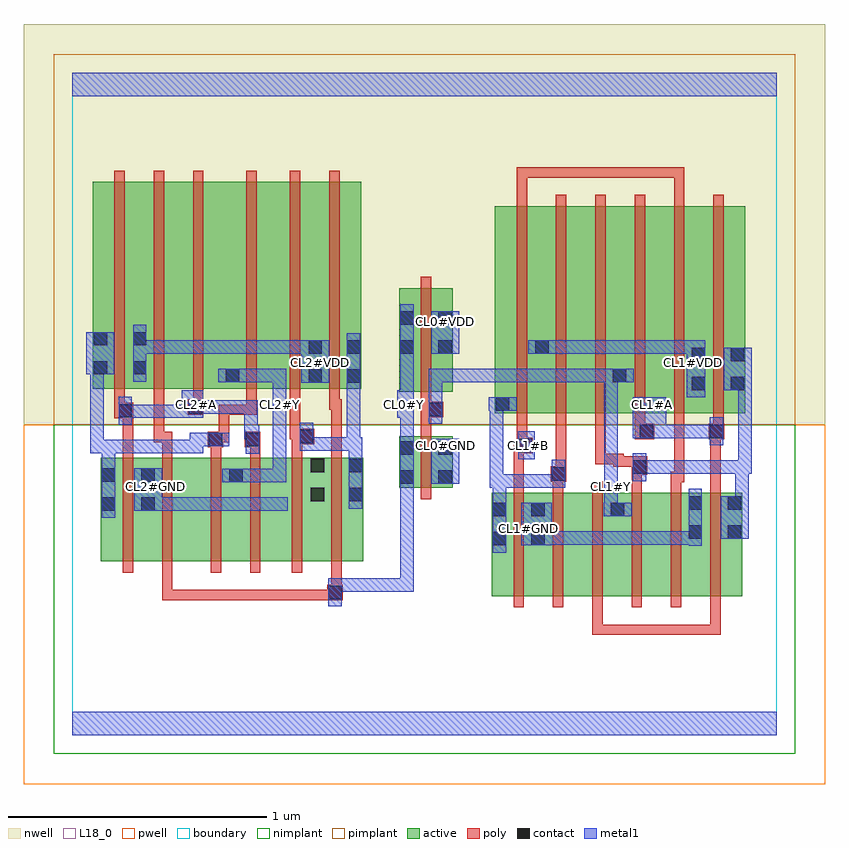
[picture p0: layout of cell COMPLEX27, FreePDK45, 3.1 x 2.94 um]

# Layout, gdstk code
import gdstk
lib = gdstk.Library(unit=1e-6, precision=1e-09)
def R(c, l, rs):  # rectangles x0, y0, x1, y1
    for r in rs: c.add(gdstk.rectangle(r[:2], r[2:], *l))
def A(c, l, x, y, w, h, nx, ny, dx, dy):  # array of equal rectangles
    R(c, l, [(x+i*dx, y+j*dy, x+i*dx+w, y+j*dy+h) for i in range(nx) for j in range(ny)])
active = (1, 0)
pwell = (2, 0)
nwell = (3, 0)
nimplant = (4, 0)
pimplant = (5, 0)
poly = (9, 0)
contact = (10, 0)
metal1 = (11, 0)
L18_0 = (18, 0)
boundary = (235, 0)

complex27 = lib.new_cell('COMPLEX27')
R(complex27, active, [(1.62,0.538,1.828,0.938), (1.768,0.538,1.952,0.938), (1.952,0.538,2.136,0.938), (2.076,0.538,2.256,0.938), (2.256,0.538,2.436,0.938), (2.376,0.538,2.588,0.938), (0.11,0.672,0.322,1.072), (0.262,0.672,0.442,1.072), (0.442,0.672,0.662,1.072), (0.602,0.672,0.782,1.072), (0.782,0.672,0.976,1.072), (0.916,0.672,1.124,1.072), (1.62,0.73,1.68,0.938), (1.768,0.73,1.828,0.938), (0.11,0.756,0.17,1.072), (0.262,0.756,0.322,1.072), (0.602,0.756,0.662,1.072), (0.916,0.756,0.976,1.072), (1.064,0.756,1.124,1.072), (2.076,0.756,2.136,0.938), (2.376,0.756,2.436,0.938), (2.528,0.756,2.588,0.938), (1.262,0.956,1.322,1.156), (1.262,0.956,1.47,1.156), (1.41,0.956,1.47,1.156), (1.632,1.244,1.692,2.044), (1.632,1.244,1.844,2.044), (1.784,1.244,1.844,2.044), (1.784,1.244,1.964,2.044), (1.964,1.244,2.144,2.044), (2.084,1.244,2.144,2.044), (2.084,1.244,2.268,2.044), (2.268,1.244,2.448,2.044), (2.388,1.244,2.448,2.044), (2.388,1.244,2.6,2.044), (2.54,1.244,2.6,2.044), (1.262,1.328,1.47,1.728), (1.262,1.328,1.322,1.728), (0.078,1.338,0.29,2.138), (0.078,1.338,0.138,2.044), (0.23,1.338,0.41,2.138), (0.23,1.338,0.29,2.044), (0.41,1.338,0.648,2.138), (0.588,1.338,0.648,2.044), (0.588,1.338,0.784,2.138), (0.784,1.338,0.968,2.138), (0.908,1.338,0.968,2.044), (0.908,1.338,1.116,2.138), (1.056,1.338,1.116,2.044), (1.41,1.452,1.47,1.644)])
R(complex27, pwell, [(-0.188,-0.188,2.908,1.2)])
R(complex27, nwell, [(-0.188,1.2,2.908,2.748)])
R(complex27, nimplant, [(-0.072,-0.072,2.792,1.2)])
R(complex27, pimplant, [(-0.072,1.2,2.792,2.632)])
A(complex27, poly, 1.704, 0.494, 0.04, 0.488, 6, 1, 0.152, 0)
A(complex27, poly, 1.716, 1.2, 0.04, 0.888, 6, 1, 0.152, 0)
A(complex27, poly, 0.162, 1.294, 0.04, 0.888, 3, 1, 0.152, 0)
R(complex27, poly, [(2.008,0.388,2.048,0.428), (2.008,0.388,2.048,0.428), (2.008,0.388,2.048,0.428), (2.008,0.388,2.048,0.534), (2.008,0.388,2.246,0.428), (2.206,0.388,2.246,0.428), (2.206,0.388,2.246,0.428), (2.206,0.388,2.246,0.428), (2.206,0.388,2.352,0.428), (2.312,0.388,2.352,0.428), (2.312,0.388,2.504,0.428), (2.464,0.388,2.504,0.428), (2.464,0.388,2.504,0.428), (2.464,0.388,2.504,0.428), (2.464,0.388,2.504,0.534), (0.346,0.522,0.386,0.562), (0.346,0.522,0.386,0.562), (0.346,0.522,0.386,0.562), (0.346,0.522,0.386,0.668), (0.346,0.522,0.6,0.562), (0.56,0.522,0.6,0.562), (0.56,0.522,0.6,0.562), (0.56,0.522,0.6,0.562), (0.56,0.522,0.742,0.562), (0.702,0.522,0.742,0.562), (0.702,0.522,0.742,0.562), (0.702,0.522,0.742,0.562), (0.702,0.522,0.918,0.562), (0.878,0.522,0.918,0.562), (0.878,0.522,1.024,0.562), (0.984,0.522,1.024,0.562), (0.984,0.522,1.024,0.562), (0.984,0.522,1.044,0.582), (1,0.542,1.04,0.668), (0.194,0.628,0.234,1.116), (0.346,0.628,0.386,1.116), (0.534,0.628,0.574,1.116), (0.686,0.628,0.726,1.116), (0.848,0.628,0.888,1.116), (1,0.628,1.04,1.116), (1.346,0.912,1.386,1.2), (1.704,0.942,1.744,1.13), (1.856,0.942,1.896,1.02), (2.16,0.942,2.2,1.046), (2.312,0.942,2.352,1.018), (2.464,0.942,2.504,1.184), (2.312,0.978,2.354,1.018), (2.314,0.978,2.354,1.018), (2.314,0.978,2.364,1.018), (2.324,0.978,2.364,1.24), (1.848,0.98,1.908,1.04), (1.868,1,1.908,1.04), (1.868,1,1.908,1.04), (1.868,1,1.908,1.24), (2.16,1.006,2.22,1.078), (2.09,1.038,2.2,1.078), (2.09,1.038,2.13,1.088), (2.02,1.048,2.06,1.088), (2.02,1.048,2.06,1.088), (2.02,1.048,2.06,1.088), (2.02,1.048,2.13,1.088), (2.02,1.048,2.06,1.24), (0.194,1.076,0.234,1.264), (0.346,1.076,0.386,1.172), (0.534,1.076,0.574,1.152), (0.686,1.076,0.726,1.152), (0.848,1.076,0.888,1.164), (1,1.076,1.04,1.298), (1.704,1.09,1.756,1.13), (1.716,1.09,1.756,1.13), (1.716,1.09,1.778,1.15), (1.716,1.11,1.756,1.24), (0.522,1.112,0.582,1.172), (0.666,1.112,0.726,1.172), (0.848,1.124,0.934,1.184), (0.314,1.132,0.354,1.172), (0.314,1.132,0.354,1.172), (0.314,1.132,0.354,1.334), (0.314,1.132,0.386,1.172), (0.542,1.132,0.606,1.172), (0.566,1.132,0.606,1.172), (0.566,1.132,0.606,1.278), (0.84,1.144,0.888,1.184), (0.84,1.144,0.88,1.334), (0.848,1.144,0.888,1.184), (2.172,1.144,2.248,1.204), (2.458,1.144,2.518,1.204), (2.464,1.144,2.504,1.184), (2.464,1.144,2.504,1.184), (1.346,1.16,1.386,1.268), (2.172,1.164,2.212,1.24), (2.476,1.164,2.516,1.24), (0.162,1.224,0.234,1.284), (0.194,1.224,0.234,1.264), (0.194,1.224,0.234,1.264), (1.346,1.228,1.386,1.268), (1.346,1.228,1.386,1.268), (1.346,1.228,1.432,1.288), (0.446,1.238,0.506,1.298), (0.566,1.238,0.606,1.278), (0.566,1.238,0.712,1.278), (0.672,1.238,0.712,1.278), (0.672,1.238,0.712,1.334), (0.162,1.244,0.202,1.334), (1.346,1.248,1.386,1.324), (0.466,1.258,0.506,1.334), (0.992,1.258,1.032,1.334), (0.992,1.258,1.04,1.298), (1,1.258,1.04,1.298), (1,1.258,1.04,1.298), (1.346,1.284,1.386,1.772), (0.672,1.294,0.712,2.182), (0.84,1.294,0.88,2.182), (0.992,1.294,1.032,2.182), (1.716,2.048,1.756,2.194), (2.324,2.048,2.364,2.194), (1.716,2.154,1.756,2.194), (1.716,2.154,1.756,2.194), (1.716,2.154,1.756,2.194), (1.716,2.154,1.924,2.194), (1.884,2.154,1.924,2.194), (1.884,2.154,1.924,2.194), (1.884,2.154,1.924,2.194), (1.884,2.154,2.094,2.194), (2.054,2.154,2.094,2.194), (2.054,2.154,2.094,2.194), (2.054,2.154,2.094,2.194), (2.054,2.154,2.246,2.194), (2.206,2.154,2.246,2.194), (2.206,2.154,2.364,2.194), (2.324,2.154,2.364,2.194), (2.324,2.154,2.364,2.194), (2.324,2.154,2.364,2.194)])
R(complex27, contact, [(0.988,0.526,1.04,0.578), (1.624,0.734,1.676,0.786), (1.772,0.734,1.824,0.786), (2.38,0.76,2.432,0.812), (2.532,0.76,2.584,0.812), (1.624,0.846,1.676,0.898), (1.772,0.846,1.824,0.898), (2.08,0.846,2.132,0.898), (0.114,0.868,0.166,0.92), (0.266,0.868,0.318,0.92), (2.38,0.872,2.432,0.924), (2.532,0.872,2.584,0.924), (0.92,0.904,0.972,0.956), (1.068,0.904,1.12,0.956), (1.266,0.972,1.318,1.024), (1.414,0.972,1.466,1.024), (0.606,0.978,0.658,1.03), (0.114,0.98,0.166,1.032), (0.266,0.98,0.318,1.032), (1.852,0.984,1.904,1.036), (2.164,1.01,2.216,1.062), (0.92,1.016,0.972,1.068), (1.068,1.016,1.12,1.068), (1.266,1.084,1.318,1.136), (1.414,1.084,1.466,1.136), (1.722,1.094,1.774,1.146), (0.526,1.116,0.578,1.168), (0.67,1.116,0.722,1.168), (0.878,1.128,0.93,1.18), (2.192,1.148,2.244,1.2), (2.462,1.148,2.514,1.2), (0.178,1.228,0.23,1.28), (1.376,1.232,1.428,1.284), (0.45,1.242,0.502,1.294), (1.636,1.254,1.688,1.306), (2.392,1.334,2.444,1.386), (2.544,1.334,2.596,1.386), (0.912,1.362,0.964,1.414), (1.06,1.362,1.112,1.414), (0.592,1.364,0.644,1.416), (2.088,1.364,2.14,1.416), (0.082,1.394,0.134,1.446), (0.234,1.394,0.286,1.446), (2.392,1.446,2.444,1.498), (2.544,1.446,2.596,1.498), (0.912,1.474,0.964,1.526), (1.06,1.474,1.112,1.526), (1.266,1.474,1.318,1.526), (1.414,1.474,1.466,1.526), (1.788,1.474,1.84,1.526), (0.082,1.506,0.134,1.558), (0.234,1.506,0.286,1.558), (1.266,1.586,1.318,1.638), (1.414,1.586,1.466,1.638)])
R(complex27, metal1, [(0,0,2.72,0.092), (0.988,0.498,1.04,0.606), (0.988,0.554,1.318,0.606), (1.266,0.554,1.318,0.606), (1.266,0.554,1.318,0.606), (1.266,0.554,1.318,0.606), (1.266,0.554,1.318,0.606), (1.266,0.554,1.318,0.606), (1.266,0.554,1.318,0.606), (1.266,0.554,1.318,0.606), (1.266,0.554,1.318,0.606), (1.266,0.554,1.318,0.606), (1.266,0.554,1.318,0.996), (1.624,0.706,1.676,0.926), (2.38,0.732,2.432,0.952), (1.734,0.734,1.852,0.898), (1.8,0.736,1.852,0.788), (1.8,0.736,1.852,0.788), (1.8,0.736,1.994,0.788), (1.942,0.736,1.994,0.788), (1.942,0.736,1.994,0.788), (1.942,0.736,1.994,0.788), (1.942,0.736,2.104,0.788), (2.052,0.736,2.104,0.788), (2.052,0.736,2.294,0.788), (2.242,0.736,2.294,0.788), (2.242,0.736,2.294,0.788), (2.242,0.736,2.294,0.788), (2.242,0.736,2.404,0.788), (2.352,0.736,2.404,0.788), (2.352,0.736,2.432,0.788), (2.504,0.76,2.612,0.924), (0.114,0.84,0.166,1.06), (2.052,0.846,2.16,0.898), (2.054,0.846,2.106,0.958), (0.238,0.868,0.346,1.032), (0.294,0.868,0.346,0.92), (0.294,0.868,0.346,0.92), (0.294,0.868,0.506,0.92), (0.454,0.868,0.506,0.92), (0.454,0.868,0.506,0.92), (0.454,0.868,0.506,0.92), (0.454,0.868,0.716,0.92), (0.664,0.868,0.716,0.92), (0.664,0.868,0.716,0.92), (0.664,0.868,0.716,0.92), (0.664,0.868,0.826,0.92), (0.774,0.868,0.826,0.92), (0.774,0.868,0.832,0.92), (0.78,0.868,0.832,0.92), (2.56,0.872,2.612,1.062), (1.624,0.874,1.676,1.008), (1.068,0.876,1.12,1.096), (2.054,0.906,2.106,1.014), (1.266,0.944,1.318,1.164), (1.612,0.956,1.676,1.008), (1.612,0.956,1.664,1.306), (1.624,0.956,1.676,1.008), (1.624,0.956,1.676,1.008), (1.624,0.956,1.868,1.008), (1.816,0.956,1.868,1.008), (1.816,0.956,1.904,1.008), (1.852,0.956,1.904,1.064), (2.054,0.962,2.106,1.416), (1.386,0.972,1.494,1.136), (0.578,0.978,0.686,1.03), (0.634,0.978,0.722,1.03), (0.67,0.978,0.722,1.03), (0.67,0.978,0.826,1.03), (0.774,0.978,0.826,1.03), (0.774,0.978,0.826,1.278), (2.164,0.982,2.216,1.09), (0.114,1.008,0.166,1.142), (2.164,1.01,2.216,1.062), (2.164,1.01,2.216,1.062), (2.164,1.01,2.404,1.062), (2.352,1.01,2.404,1.062), (2.352,1.01,2.404,1.062), (2.352,1.01,2.404,1.062), (2.352,1.01,2.612,1.062), (2.56,1.01,2.612,1.062), (2.56,1.01,2.612,1.062), (2.56,1.01,2.624,1.062), (2.572,1.01,2.624,1.386), (1.068,1.044,1.12,1.152), (1.722,1.066,1.786,1.174), (1.386,1.084,1.494,1.146), (1.442,1.084,1.494,1.136), (1.442,1.084,1.494,1.136), (1.442,1.084,1.494,1.136), (0.67,1.088,0.722,1.196), (0.068,1.09,0.12,1.142), (0.068,1.09,0.12,1.142), (0.068,1.09,0.12,1.446), (0.068,1.09,0.166,1.142), (0.114,1.09,0.166,1.142), (0.114,1.09,0.166,1.142), (0.114,1.09,0.364,1.142), (0.312,1.09,0.364,1.142), (0.312,1.09,0.364,1.142), (0.312,1.09,0.364,1.142), (0.312,1.09,0.506,1.142), (0.454,1.09,0.506,1.168), (0.878,1.1,0.93,1.208), (0.878,1.1,1.002,1.152), (0.95,1.1,1.002,1.152), (0.95,1.1,1.112,1.152), (1.06,1.1,1.112,1.152), (1.06,1.1,1.112,1.152), (1.06,1.1,1.112,1.152), (1.06,1.1,1.112,1.152), (1.06,1.1,1.112,1.386), (1.06,1.1,1.12,1.152), (1.266,1.112,1.318,1.278), (0.454,1.116,0.55,1.168), (0.498,1.116,0.606,1.168), (2.462,1.12,2.514,1.228), (0.664,1.144,0.716,1.196), (0.664,1.144,0.722,1.196), (0.664,1.144,0.716,1.294), (2.164,1.148,2.294,1.306), (2.242,1.148,2.294,1.2), (2.242,1.148,2.294,1.2), (2.242,1.148,2.404,1.2), (2.352,1.148,2.404,1.2), (2.352,1.148,2.404,1.2), (2.352,1.148,2.404,1.2), (2.352,1.148,2.514,1.2), (0.178,1.2,0.23,1.308), (1.376,1.204,1.428,1.312), (0.178,1.226,0.34,1.278), (0.288,1.226,0.34,1.278), (0.288,1.226,0.34,1.278), (0.288,1.226,0.34,1.278), (0.288,1.226,0.474,1.278), (0.422,1.226,0.506,1.334), (0.774,1.226,0.826,1.334), (1.254,1.226,1.318,1.334), (0.422,1.242,0.474,1.294), (0.422,1.242,0.53,1.294), (0.478,1.242,0.716,1.294), (0.664,1.242,0.716,1.294), (1.608,1.254,1.716,1.306), (1.612,1.254,1.664,1.306), (1.612,1.254,1.664,1.306), (1.376,1.26,1.428,1.312), (1.376,1.26,1.428,1.312), (1.376,1.26,1.428,1.312), (1.376,1.26,1.428,1.312), (1.376,1.26,1.428,1.416), (0.774,1.282,0.826,1.334), (0.774,1.282,0.826,1.334), (0.774,1.282,0.826,1.416), (1.266,1.282,1.318,1.498), (2.374,1.306,2.444,1.526), (1.06,1.334,1.112,1.554), (2.516,1.334,2.624,1.498), (2.572,1.334,2.624,1.386), (2.572,1.334,2.624,1.386), (0.884,1.362,0.992,1.526), (0.564,1.364,0.672,1.416), (0.62,1.364,0.722,1.416), (0.67,1.364,0.722,1.416), (0.67,1.364,0.826,1.416), (0.774,1.364,0.826,1.416), (1.376,1.364,1.428,1.416), (1.376,1.364,1.676,1.416), (1.624,1.364,1.676,1.416), (1.624,1.364,1.676,1.416), (1.624,1.364,1.676,1.416), (1.624,1.364,1.826,1.416), (1.774,1.364,1.826,1.416), (1.774,1.364,1.826,1.416), (1.774,1.364,1.826,1.416), (1.774,1.364,1.826,1.416), (1.774,1.364,1.826,1.416), (1.774,1.364,1.978,1.416), (1.926,1.364,1.978,1.416), (1.926,1.364,1.978,1.416), (1.926,1.364,1.978,1.416), (1.926,1.364,2.106,1.416), (2.054,1.364,2.106,1.416), (2.054,1.364,2.106,1.416), (2.054,1.364,2.168,1.416), (0.234,1.366,0.286,1.586), (0.054,1.394,0.162,1.558), (1.266,1.446,1.318,1.498), (1.266,1.446,1.318,1.498), (1.266,1.446,1.318,1.666), (0.234,1.474,0.364,1.526), (0.312,1.474,0.364,1.526), (0.312,1.474,0.474,1.526), (0.422,1.474,0.474,1.526), (0.422,1.474,0.474,1.526), (0.422,1.474,0.474,1.526), (0.422,1.474,0.716,1.526), (0.664,1.474,0.716,1.526), (0.664,1.474,0.716,1.526), (0.664,1.474,0.716,1.526), (0.664,1.474,0.826,1.526), (0.774,1.474,0.826,1.526), (0.774,1.474,0.93,1.526), (0.878,1.474,0.93,1.526), (0.878,1.474,0.936,1.526), (1.386,1.474,1.494,1.638), (1.76,1.474,1.868,1.526), (1.816,1.474,1.868,1.526), (1.816,1.474,1.868,1.526), (1.816,1.474,1.994,1.526), (1.942,1.474,1.994,1.526), (1.942,1.474,2.104,1.526), (2.052,1.474,2.104,1.526), (2.052,1.474,2.104,1.526), (2.052,1.474,2.104,1.526), (2.052,1.474,2.294,1.526), (2.242,1.474,2.294,1.526), (2.242,1.474,2.294,1.526), (2.242,1.474,2.294,1.526), (2.242,1.474,2.404,1.526), (2.352,1.474,2.404,1.526), (2.352,1.474,2.426,1.526), (0,2.468,2.72,2.56)])
R(complex27, L18_0, [(0,0,2.72,0.092), (0.988,0.498,1.04,0.606), (0.988,0.554,1.318,0.606), (1.266,0.554,1.318,0.606), (1.266,0.554,1.318,0.606), (1.266,0.554,1.318,0.606), (1.266,0.554,1.318,0.606), (1.266,0.554,1.318,0.606), (1.266,0.554,1.318,0.606), (1.266,0.554,1.318,0.606), (1.266,0.554,1.318,0.606), (1.266,0.554,1.318,0.606), (1.266,0.554,1.318,0.996), (2.38,0.732,2.432,0.952), (1.734,0.734,1.852,0.898), (1.8,0.736,1.852,0.788), (1.8,0.736,1.852,0.788), (1.8,0.736,1.994,0.788), (1.942,0.736,1.994,0.788), (1.942,0.736,1.994,0.788), (1.942,0.736,1.994,0.788), (1.942,0.736,2.104,0.788), (2.052,0.736,2.104,0.788), (2.052,0.736,2.294,0.788), (2.242,0.736,2.294,0.788), (2.242,0.736,2.294,0.788), (2.242,0.736,2.294,0.788), (2.242,0.736,2.404,0.788), (2.352,0.736,2.404,0.788), (2.352,0.736,2.432,0.788), (1.734,0.774,1.786,0.826), (2.052,0.846,2.16,0.898), (2.054,0.846,2.106,0.958), (0.238,0.868,0.346,1.032), (0.294,0.868,0.346,0.92), (0.294,0.868,0.346,0.92), (0.294,0.868,0.506,0.92), (0.454,0.868,0.506,0.92), (0.454,0.868,0.506,0.92), (0.454,0.868,0.506,0.92), (0.454,0.868,0.716,0.92), (0.664,0.868,0.716,0.92), (0.664,0.868,0.716,0.92), (0.664,0.868,0.716,0.92), (0.664,0.868,0.826,0.92), (0.774,0.868,0.826,0.92), (0.774,0.868,0.832,0.92), (0.78,0.868,0.832,0.92), (2.054,0.906,2.106,1.014), (0.294,0.934,0.346,0.986), (2.054,0.934,2.106,0.986), (1.266,0.944,1.318,1.164), (2.054,0.962,2.106,1.416), (1.386,0.972,1.494,1.136), (0.578,0.978,0.686,1.03), (0.634,0.978,0.722,1.03), (0.67,0.978,0.722,1.03), (0.67,0.978,0.826,1.03), (0.774,0.978,0.826,1.03), (0.774,0.978,0.826,1.278), (1.722,1.066,1.786,1.174), (1.386,1.084,1.494,1.146), (1.442,1.084,1.494,1.136), (1.442,1.084,1.494,1.136), (1.442,1.084,1.494,1.136), (0.67,1.088,0.722,1.196), (1.414,1.094,1.466,1.146), (1.734,1.094,1.786,1.146), (1.266,1.112,1.318,1.278), (2.462,1.12,2.514,1.228), (0.664,1.144,0.716,1.196), (0.664,1.144,0.716,1.294), (0.664,1.144,0.722,1.196), (2.164,1.148,2.294,1.306), (2.242,1.148,2.294,1.2), (2.242,1.148,2.294,1.2), (2.242,1.148,2.404,1.2), (2.352,1.148,2.404,1.2), (2.352,1.148,2.404,1.2), (2.352,1.148,2.404,1.2), (2.352,1.148,2.514,1.2), (0.178,1.2,0.23,1.308), (1.376,1.204,1.428,1.312), (0.178,1.226,0.34,1.278), (0.288,1.226,0.34,1.278), (0.288,1.226,0.34,1.278), (0.288,1.226,0.34,1.278), (0.288,1.226,0.474,1.278), (0.422,1.226,0.506,1.334), (0.774,1.226,0.826,1.334), (1.254,1.226,1.318,1.334), (0.422,1.242,0.474,1.294), (0.422,1.242,0.53,1.294), (0.478,1.242,0.716,1.294), (0.664,1.242,0.716,1.294), (0.454,1.254,0.506,1.306), (0.774,1.254,0.826,1.306), (1.254,1.254,1.306,1.306), (2.214,1.254,2.266,1.306), (1.376,1.26,1.428,1.312), (1.376,1.26,1.428,1.312), (1.376,1.26,1.428,1.312), (1.376,1.26,1.428,1.312), (1.376,1.26,1.428,1.416), (0.774,1.282,0.826,1.334), (0.774,1.282,0.826,1.334), (0.774,1.282,0.826,1.416), (1.266,1.282,1.318,1.498), (2.374,1.306,2.444,1.526), (0.884,1.362,0.992,1.526), (0.564,1.364,0.672,1.416), (0.62,1.364,0.722,1.416), (0.67,1.364,0.722,1.416), (0.67,1.364,0.826,1.416), (0.774,1.364,0.826,1.416), (1.376,1.364,1.428,1.416), (1.376,1.364,1.676,1.416), (1.624,1.364,1.676,1.416), (1.624,1.364,1.676,1.416), (1.624,1.364,1.676,1.416), (1.624,1.364,1.826,1.416), (1.774,1.364,1.826,1.416), (1.774,1.364,1.826,1.416), (1.774,1.364,1.826,1.416), (1.774,1.364,1.826,1.416), (1.774,1.364,1.826,1.416), (1.774,1.364,1.978,1.416), (1.926,1.364,1.978,1.416), (1.926,1.364,1.978,1.416), (1.926,1.364,1.978,1.416), (1.926,1.364,2.106,1.416), (2.054,1.364,2.106,1.416), (2.054,1.364,2.106,1.416), (2.054,1.364,2.168,1.416), (0.234,1.366,0.286,1.586), (0.934,1.414,0.986,1.466), (2.374,1.414,2.426,1.466), (1.266,1.446,1.318,1.498), (1.266,1.446,1.318,1.498), (1.266,1.446,1.318,1.666), (0.234,1.474,0.364,1.526), (0.312,1.474,0.364,1.526), (0.312,1.474,0.474,1.526), (0.422,1.474,0.474,1.526), (0.422,1.474,0.474,1.526), (0.422,1.474,0.474,1.526), (0.422,1.474,0.716,1.526), (0.664,1.474,0.716,1.526), (0.664,1.474,0.716,1.526), (0.664,1.474,0.716,1.526), (0.664,1.474,0.826,1.526), (0.774,1.474,0.826,1.526), (0.774,1.474,0.93,1.526), (0.878,1.474,0.93,1.526), (0.878,1.474,0.936,1.526), (1.386,1.474,1.494,1.638), (1.76,1.474,1.868,1.526), (1.816,1.474,1.868,1.526), (1.816,1.474,1.868,1.526), (1.816,1.474,1.994,1.526), (1.942,1.474,1.994,1.526), (1.942,1.474,2.104,1.526), (2.052,1.474,2.104,1.526), (2.052,1.474,2.104,1.526), (2.052,1.474,2.104,1.526), (2.052,1.474,2.294,1.526), (2.242,1.474,2.294,1.526), (2.242,1.474,2.294,1.526), (2.242,1.474,2.294,1.526), (2.242,1.474,2.404,1.526), (2.352,1.474,2.404,1.526), (2.352,1.474,2.426,1.526), (1.414,1.574,1.466,1.626), (0,2.468,2.72,2.56)])
R(complex27, boundary, [(0,0,2.72,2.56)])
complex27.add(gdstk.Label('CL0#GND', (1.44,1.12), layer=11, texttype=0))
complex27.add(gdstk.Label('CL0#VDD', (1.44,1.6), layer=11, texttype=0))
complex27.add(gdstk.Label('CL0#Y', (1.28,1.28), layer=11, texttype=0))
complex27.add(gdstk.Label('CL1#A', (2.24,1.28), layer=11, texttype=0))
complex27.add(gdstk.Label('CL1#B', (1.76,1.12), layer=11, texttype=0))
complex27.add(gdstk.Label('CL1#GND', (1.76,0.8), layer=11, texttype=0))
complex27.add(gdstk.Label('CL1#VDD', (2.4,1.44), layer=11, texttype=0))
complex27.add(gdstk.Label('CL1#Y', (2.08,0.96), layer=11, texttype=0))
complex27.add(gdstk.Label('CL2#A', (0.48,1.28), layer=11, texttype=0))
complex27.add(gdstk.Label('CL2#GND', (0.32,0.96), layer=11, texttype=0))
complex27.add(gdstk.Label('CL2#VDD', (0.96,1.44), layer=11, texttype=0))
complex27.add(gdstk.Label('CL2#Y', (0.8,1.28), layer=11, texttype=0))

lib.write_gds('COMPLEX27.gds')
